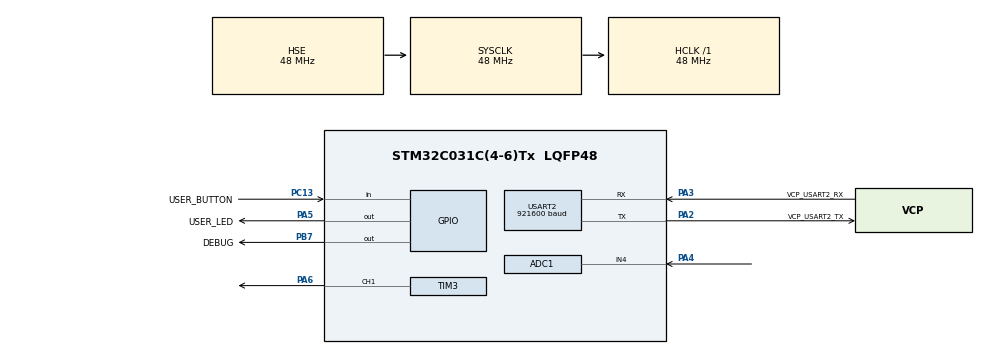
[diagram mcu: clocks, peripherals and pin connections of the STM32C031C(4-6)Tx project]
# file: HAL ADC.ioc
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ADC1.ClockPrescaler=ADC_CLOCK_ASYNC_DIV1
ADC1.ContinuousConvMode=DISABLE
ADC1.DMAContinuousRequests=ENABLE
ADC1.ExternalTrigConv=ADC_EXTERNALTRIG_T3_TRGO
ADC1.NbrOfConversionFlag=0
ADC1.SamplingTimeCommon1=ADC_SAMPLETIME_39CYCLES_5
ADC1.SelectedChannel=ADC_CHANNEL_4
ADC1.master=1
Dma.ADC1.0.Direction=DMA_PERIPH_TO_MEMORY
Dma.ADC1.0.EventEnable=DISABLE
Dma.ADC1.0.Instance=DMA1_Channel1
Dma.ADC1.0.MemDataAlignment=DMA_MDATAALIGN_HALFWORD
Dma.ADC1.0.MemInc=DMA_MINC_ENABLE
Dma.ADC1.0.Mode=DMA_CIRCULAR
Dma.ADC1.0.PeriphDataAlignment=DMA_PDATAALIGN_HALFWORD
Dma.ADC1.0.PeriphInc=DMA_PINC_DISABLE
Dma.ADC1.0.Polarity=HAL_DMAMUX_REQ_GEN_RISING
Dma.ADC1.0.Priority=DMA_PRIORITY_LOW
Dma.ADC1.0.RequestNumber=1
Dma.ADC1.0.SignalID=NONE
Dma.ADC1.0.SyncEnable=DISABLE
Dma.ADC1.0.SyncPolarity=HAL_DMAMUX_SYNC_NO_EVENT
Dma.ADC1.0.SyncRequestNumber=1
Dma.ADC1.0.SyncSignalID=NONE
Dma.Request0=ADC1
Dma.Request1=USART2_TX
Dma.USART2_TX.1.Direction=DMA_MEMORY_TO_PERIPH
Dma.USART2_TX.1.EventEnable=DISABLE
Dma.USART2_TX.1.Instance=DMA1_Channel2
Dma.USART2_TX.1.MemDataAlignment=DMA_MDATAALIGN_BYTE
Dma.USART2_TX.1.MemInc=DMA_MINC_ENABLE
Dma.USART2_TX.1.Mode=DMA_NORMAL
Dma.USART2_TX.1.PeriphDataAlignment=DMA_PDATAALIGN_BYTE
Dma.USART2_TX.1.PeriphInc=DMA_PINC_DISABLE
Dma.USART2_TX.1.Polarity=HAL_DMAMUX_REQ_GEN_RISING
Dma.USART2_TX.1.Priority=DMA_PRIORITY_LOW
Dma.USART2_TX.1.RequestNumber=1
Dma.USART2_TX.1.SignalID=NONE
Dma.USART2_TX.1.SyncEnable=DISABLE
Dma.USART2_TX.1.SyncPolarity=HAL_DMAMUX_SYNC_NO_EVENT
Dma.USART2_TX.1.SyncRequestNumber=1
Dma.USART2_TX.1.SyncSignalID=NONE
Mcu.Family=STM32C0
Mcu.Name=STM32C031C(4-6)Tx
Mcu.Package=LQFP48
NVIC.ADC1_IRQn=true\:0\:0\:false\:false\:true\:true\:true\:true
NVIC.DMA1_Channel1_IRQn=true\:0\:0\:false\:false\:true\:false\:true\:true
NVIC.DMA1_Channel2_3_IRQn=true\:0\:0\:false\:false\:true\:false\:true\:true
NVIC.USART2_IRQn=true\:0\:0\:false\:false\:true\:true\:true\:true
PA13.GPIO_Label=DEBUG_SWDIO
PA13.Signal=DEBUG_SWDIO
PA14-BOOT0.GPIO_Label=DEBUG_SWCLK
PA14-BOOT0.Signal=DEBUG_SWCLK
PA2.GPIO_Label=VCP_USART2_TX
PA2.Mode=Asynchronous
PA2.Signal=USART2_TX
PA3.GPIO_Label=VCP_USART2_RX
PA3.Mode=Asynchronous
PA3.Signal=USART2_RX
PA4.Mode=IN4
PA4.Signal=ADC1_IN4
PA5.GPIO_Label=USER_LED
PA5.Signal=GPIO_Output
PA6.Signal=S_TIM3_CH1
PB7.GPIO_Label=DEBUG
PB7.Signal=GPIO_Output
PC13.GPIO_Label=USER_BUTTON
PC13.Signal=GPIO_Input
PC14-OSCX_IN\ (PC14).GPIO_Label=RCC_OSCX_IN
PC14-OSCX_IN\ (PC14).Mode=LSE-External-Oscillator
PC14-OSCX_IN\ (PC14).Signal=RCC_OSCX_IN
PC15-OSCX_OUT\ (PC15).GPIO_Label=RCC_OSCX_OUT
PC15-OSCX_OUT\ (PC15).Mode=LSE-External-Oscillator
PC15-OSCX_OUT\ (PC15).Signal=RCC_OSCX_OUT
PF0-OSC_IN\ (PF0).GPIO_Label=RCC_OSC_IN
PF0-OSC_IN\ (PF0).Mode=HSE-External-Oscillator
PF0-OSC_IN\ (PF0).Signal=RCC_OSC_IN
PF1-OSC_OUT\ (PF1).GPIO_Label=RCC_OSC_OUT
PF1-OSC_OUT\ (PF1).Mode=HSE-External-Oscillator
PF1-OSC_OUT\ (PF1).Signal=RCC_OSC_OUT
ProjectManager.HeapSize=0x200
ProjectManager.StackSize=0x400
ProjectManager.TargetToolchain=STM32CubeIDE
RCC.ADCFreq_Value=48000000
RCC.AHBFreq_Value=48000000
RCC.CortexFreq_Value=48000000
RCC.EXTERNAL_CLOCK_VALUE=12288000
RCC.HCLKFreq_Value=48000000
RCC.HSE_VALUE=48000000
RCC.HSISYSCLKDivider=RCC_HSI_DIV1
RCC.HSI_VALUE=48000000
RCC.SYSCLKFreq_VALUE=48000000
RCC.SYSCLKSource=RCC_SYSCLKSOURCE_HSE
SH.S_TIM3_CH1.0=TIM3_CH1,PWM Generation1 CH1
TIM3.AutoReloadPreload=TIM_AUTORELOAD_PRELOAD_DISABLE
TIM3.Channel-PWM\ Generation1\ CH1=TIM_CHANNEL_1
TIM3.Period=2399
TIM3.Pulse-PWM\ Generation1\ CH1=1199
TIM3.TIM_MasterOutputTrigger=TIM_TRGO_UPDATE
USART2.BaudRate=921600
USART2.VirtualMode-Asynchronous=VM_ASYNC
VP_TIM3_VS_ClockSourceINT.Mode=Internal
board=NUCLEO-C031C6

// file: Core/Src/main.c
/* USER CODE BEGIN Header */
/**
  ******************************************************************************
  * @file           : main.c
  * @brief          : Main program body
  ******************************************************************************
  * @attention
  *
  * Copyright (c) 2026 STMicroelectronics.
  * All rights reserved.
  *
  * This software is licensed under terms that can be found in the LICENSE file
  * in the root directory of this software component.
  * If no LICENSE file comes with this software, it is provided AS-IS.
  *
  ******************************************************************************
  */
/* USER CODE END Header */
#include "main.h"

/* USER CODE BEGIN Includes */
#include <string.h>
#include <stdio.h>
/* USER CODE END Includes */

ADC_HandleTypeDef hadc1;
DMA_HandleTypeDef hdma_adc1;

TIM_HandleTypeDef htim3;

UART_HandleTypeDef huart2;
DMA_HandleTypeDef hdma_usart2_tx;

/* USER CODE BEGIN PV */
volatile uint32_t value;
volatile uint8_t adc_ready = 0;
volatile uint8_t adc_half = 0;
uint16_t adc_buffer[256];
/* USER CODE END PV */

void SystemClock_Config(void);
static void MX_GPIO_Init(void);
static void MX_DMA_Init(void);
static void MX_ADC1_Init(void);
static void MX_USART2_UART_Init(void);
static void MX_TIM3_Init(void);

/* USER CODE BEGIN 0 */
void HAL_ADC_ConvHalfCpltCallback(ADC_HandleTypeDef *hadc){
	adc_half = 1;
}
void HAL_ADC_ConvCpltCallback(ADC_HandleTypeDef *hadc){
	/*value = HAL_ADC_GetValue(hadc);*/
	adc_ready = 1;
}
/* USER CODE END 0 */

int main(void)
{

  /* MCU Configuration--------------------------------------------------------*/

  /* Reset of all peripherals, Initializes the Flash interface and the Systick. */
  HAL_Init();

  /* Configure the system clock */
  SystemClock_Config();

  /* Initialize all configured peripherals */
  MX_GPIO_Init();
  MX_DMA_Init();
  MX_ADC1_Init();
  MX_USART2_UART_Init();
  MX_TIM3_Init();
  /* USER CODE BEGIN 2 */
  HAL_ADC_Start_DMA(&hadc1, (uint32_t*)adc_buffer, 256);
  HAL_TIM_Base_Start(&htim3);
  HAL_TIM_PWM_Start(&htim3, TIM_CHANNEL_1);
  /* USER CODE END 2 */

  /* Infinite loop */
  /* USER CODE BEGIN WHILE */
  while (1)
  {
	  if(adc_half==1){
		  adc_half = 0;
		  HAL_UART_Transmit_DMA(&huart2, (uint8_t*)&adc_buffer[0], 256);
		  HAL_GPIO_WritePin(DEBUG_GPIO_Port, DEBUG_Pin, SET);
	  }

	  if(adc_ready==1){
		  adc_ready = 0;
		  HAL_UART_Transmit_DMA(&huart2, (uint8_t*)&adc_buffer[128], 256);
		  HAL_GPIO_WritePin(DEBUG_GPIO_Port, DEBUG_Pin, RESET);
	  }
	  /*HAL_GPIO_TogglePin(DEBUG_GPIO_Port, DEBUG_Pin);
	  HAL_ADC_Start(&hadc1);
	  HAL_ADC_PollForConversion(&hadc1, 10);
	  value = HAL_ADC_GetValue(&hadc1);
	  HAL_GPIO_TogglePin(DEBUG_GPIO_Port, DEBUG_Pin);
	  HAL_ADC_Stop(&hadc1);

	  HAL_Delay(value);
	  HAL_GPIO_TogglePin(USER_LED_GPIO_Port, USER_LED_Pin);
	  HAL_Delay(value);
	  HAL_GPIO_TogglePin(USER_LED_GPIO_Port, USER_LED_Pin);*/

	  /*if(adc_ready==1){
		  HAL_ADC_Start_IT(&hadc1);
		  adc_ready=0;
		  sprintf(txBuffer, "%05ld\n\r", value);
		  HAL_UART_Transmit(&huart2, (uint8_t*)txBuffer, sizeof(txBuffer), 100);
	  }

	  HAL_GPIO_TogglePin(USER_LED_GPIO_Port, USER_LED_Pin);*/

    /* USER CODE END WHILE */

  }
}

void SystemClock_Config(void)
{
  RCC_OscInitTypeDef RCC_OscInitStruct = {0};
  RCC_ClkInitTypeDef RCC_ClkInitStruct = {0};

  __HAL_FLASH_SET_LATENCY(FLASH_LATENCY_1);

  /** Initializes the RCC Oscillators according to the specified parameters
  * in the RCC_OscInitTypeDef structure.
  */
  RCC_OscInitStruct.OscillatorType = RCC_OSCILLATORTYPE_HSE;
  RCC_OscInitStruct.HSEState = RCC_HSE_ON;
  if (HAL_RCC_OscConfig(&RCC_OscInitStruct) != HAL_OK)
  {
    Error_Handler();
  }

  /** Initializes the CPU, AHB and APB buses clocks
  */
  RCC_ClkInitStruct.ClockType = RCC_CLOCKTYPE_HCLK|RCC_CLOCKTYPE_SYSCLK
                              |RCC_CLOCKTYPE_PCLK1;
  RCC_ClkInitStruct.SYSCLKSource = RCC_SYSCLKSOURCE_HSE;
  RCC_ClkInitStruct.SYSCLKDivider = RCC_SYSCLK_DIV1;
  RCC_ClkInitStruct.AHBCLKDivider = RCC_HCLK_DIV1;
  RCC_ClkInitStruct.APB1CLKDivider = RCC_APB1_DIV1;

  if (HAL_RCC_ClockConfig(&RCC_ClkInitStruct, FLASH_LATENCY_1) != HAL_OK)
  {
    Error_Handler();
  }
}

static void MX_ADC1_Init(void)
{

  ADC_ChannelConfTypeDef sConfig = {0};

  /** Configure the global features of the ADC (Clock, Resolution, Data Alignment and number of conversion)
  */
  hadc1.Instance = ADC1;
  hadc1.Init.ClockPrescaler = ADC_CLOCK_ASYNC_DIV1;
  hadc1.Init.Resolution = ADC_RESOLUTION_12B;
  hadc1.Init.DataAlign = ADC_DATAALIGN_RIGHT;
  hadc1.Init.ScanConvMode = ADC_SCAN_SEQ_FIXED;
  hadc1.Init.EOCSelection = ADC_EOC_SINGLE_CONV;
  hadc1.Init.LowPowerAutoWait = DISABLE;
  hadc1.Init.LowPowerAutoPowerOff = DISABLE;
  hadc1.Init.ContinuousConvMode = DISABLE;
  hadc1.Init.NbrOfConversion = 1;
  hadc1.Init.DiscontinuousConvMode = DISABLE;
  hadc1.Init.ExternalTrigConv = ADC_EXTERNALTRIG_T3_TRGO;
  hadc1.Init.ExternalTrigConvEdge = ADC_EXTERNALTRIGCONVEDGE_RISING;
  hadc1.Init.DMAContinuousRequests = ENABLE;
  hadc1.Init.Overrun = ADC_OVR_DATA_PRESERVED;
  hadc1.Init.SamplingTimeCommon1 = ADC_SAMPLETIME_39CYCLES_5;
  hadc1.Init.OversamplingMode = DISABLE;
  hadc1.Init.TriggerFrequencyMode = ADC_TRIGGER_FREQ_HIGH;
  if (HAL_ADC_Init(&hadc1) != HAL_OK)
  {
    Error_Handler();
  }

  /** Configure Regular Channel
  */
  sConfig.Channel = ADC_CHANNEL_4;
  sConfig.Rank = ADC_RANK_CHANNEL_NUMBER;
  if (HAL_ADC_ConfigChannel(&hadc1, &sConfig) != HAL_OK)
  {
    Error_Handler();
  }

}

static void MX_TIM3_Init(void)
{

  TIM_ClockConfigTypeDef sClockSourceConfig = {0};
  TIM_MasterConfigTypeDef sMasterConfig = {0};
  TIM_OC_InitTypeDef sConfigOC = {0};

  htim3.Instance = TIM3;
  htim3.Init.Prescaler = 0;
  htim3.Init.CounterMode = TIM_COUNTERMODE_UP;
  htim3.Init.Period = 2399;
  htim3.Init.ClockDivision = TIM_CLOCKDIVISION_DIV1;
  htim3.Init.AutoReloadPreload = TIM_AUTORELOAD_PRELOAD_DISABLE;
  if (HAL_TIM_Base_Init(&htim3) != HAL_OK)
  {
    Error_Handler();
  }
  sClockSourceConfig.ClockSource = TIM_CLOCKSOURCE_INTERNAL;
  if (HAL_TIM_ConfigClockSource(&htim3, &sClockSourceConfig) != HAL_OK)
  {
    Error_Handler();
  }
  if (HAL_TIM_PWM_Init(&htim3) != HAL_OK)
  {
    Error_Handler();
  }
  sMasterConfig.MasterOutputTrigger = TIM_TRGO_UPDATE;
  sMasterConfig.MasterSlaveMode = TIM_MASTERSLAVEMODE_DISABLE;
  if (HAL_TIMEx_MasterConfigSynchronization(&htim3, &sMasterConfig) != HAL_OK)
  {
    Error_Handler();
  }
  sConfigOC.OCMode = TIM_OCMODE_PWM1;
  sConfigOC.Pulse = 1199;
  sConfigOC.OCPolarity = TIM_OCPOLARITY_HIGH;
  sConfigOC.OCFastMode = TIM_OCFAST_DISABLE;
  if (HAL_TIM_PWM_ConfigChannel(&htim3, &sConfigOC, TIM_CHANNEL_1) != HAL_OK)
  {
    Error_Handler();
  }
  HAL_TIM_MspPostInit(&htim3);

}

static void MX_USART2_UART_Init(void)
{

  huart2.Instance = USART2;
  huart2.Init.BaudRate = 921600;
  huart2.Init.WordLength = UART_WORDLENGTH_8B;
  huart2.Init.StopBits = UART_STOPBITS_1;
  huart2.Init.Parity = UART_PARITY_NONE;
  huart2.Init.Mode = UART_MODE_TX_RX;
  huart2.Init.HwFlowCtl = UART_HWCONTROL_NONE;
  huart2.Init.OverSampling = UART_OVERSAMPLING_16;
  huart2.Init.OneBitSampling = UART_ONE_BIT_SAMPLE_DISABLE;
  huart2.Init.ClockPrescaler = UART_PRESCALER_DIV1;
  huart2.AdvancedInit.AdvFeatureInit = UART_ADVFEATURE_NO_INIT;
  if (HAL_UART_Init(&huart2) != HAL_OK)
  {
    Error_Handler();
  }

}

static void MX_DMA_Init(void)
{

  /* DMA controller clock enable */
  __HAL_RCC_DMA1_CLK_ENABLE();

  /* DMA interrupt init */
  /* DMA1_Channel1_IRQn interrupt configuration */
  HAL_NVIC_SetPriority(DMA1_Channel1_IRQn, 0, 0);
  HAL_NVIC_EnableIRQ(DMA1_Channel1_IRQn);
  /* DMA1_Channel2_3_IRQn interrupt configuration */
  HAL_NVIC_SetPriority(DMA1_Channel2_3_IRQn, 0, 0);
  HAL_NVIC_EnableIRQ(DMA1_Channel2_3_IRQn);

}

static void MX_GPIO_Init(void)
{
  GPIO_InitTypeDef GPIO_InitStruct = {0};

  /* GPIO Ports Clock Enable */
  __HAL_RCC_GPIOC_CLK_ENABLE();
  __HAL_RCC_GPIOF_CLK_ENABLE();
  __HAL_RCC_GPIOA_CLK_ENABLE();
  __HAL_RCC_GPIOB_CLK_ENABLE();

  /*Configure GPIO pin Output Level */
  HAL_GPIO_WritePin(USER_LED_GPIO_Port, USER_LED_Pin, GPIO_PIN_RESET);

  /*Configure GPIO pin Output Level */
  HAL_GPIO_WritePin(DEBUG_GPIO_Port, DEBUG_Pin, GPIO_PIN_RESET);

  /*Configure GPIO pin : USER_BUTTON_Pin */
  GPIO_InitStruct.Pin = USER_BUTTON_Pin;
  GPIO_InitStruct.Mode = GPIO_MODE_INPUT;
  GPIO_InitStruct.Pull = GPIO_NOPULL;
  HAL_GPIO_Init(USER_BUTTON_GPIO_Port, &GPIO_InitStruct);

  /*Configure GPIO pin : USER_LED_Pin */
  GPIO_InitStruct.Pin = USER_LED_Pin;
  GPIO_InitStruct.Mode = GPIO_MODE_OUTPUT_PP;
  GPIO_InitStruct.Pull = GPIO_NOPULL;
  GPIO_InitStruct.Speed = GPIO_SPEED_FREQ_LOW;
  HAL_GPIO_Init(USER_LED_GPIO_Port, &GPIO_InitStruct);

  /*Configure GPIO pin : DEBUG_Pin */
  GPIO_InitStruct.Pin = DEBUG_Pin;
  GPIO_InitStruct.Mode = GPIO_MODE_OUTPUT_PP;
  GPIO_InitStruct.Pull = GPIO_NOPULL;
  GPIO_InitStruct.Speed = GPIO_SPEED_FREQ_LOW;
  HAL_GPIO_Init(DEBUG_GPIO_Port, &GPIO_InitStruct);

}

void Error_Handler(void)
{
  __disable_irq();
  while (1)
  {
  }
}
